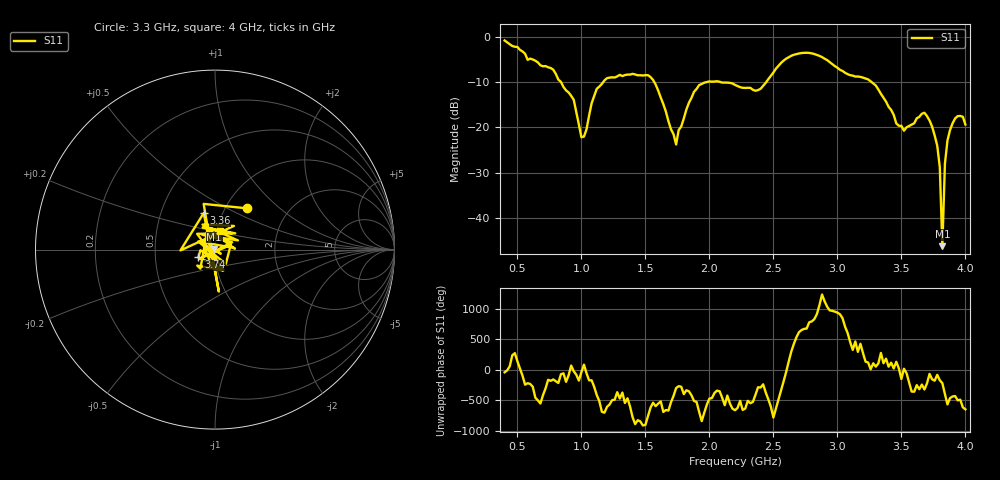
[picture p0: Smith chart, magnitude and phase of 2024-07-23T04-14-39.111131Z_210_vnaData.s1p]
!Created with skrf (http://scikit-rf.org).
# Hz S RI R 50.0
!freq ReS11 ImS11
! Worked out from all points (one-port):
!   181 points, 400 MHz to 4 GHz, reference 50 ohm
!   lowest |S11| = -46.3 dB at 3.82 GHz (marker M1), VSWR 1.01, Z = 49.6 + j0.294 ohm
!   |S11| at or under -10 dB: 1.57 GHz to 1.978 GHz (408.2 MHz wide, 23 % of centre); 2.09 GHz to 2.444 GHz (354.2 MHz wide, 15.6 % of centre); 3.268 GHz to end of sweep (the widest 3 of 4)
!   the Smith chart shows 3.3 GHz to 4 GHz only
!   S11 on the Smith chart (normalised r, x): 3.3 GHz: 1.25, +0.63; 3.36 GHz: 0.82, +0.35; 3.74 GHz: 0.83, -0.07; 4 GHz: 1.04, +0.22
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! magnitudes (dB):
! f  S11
! 400 MHz  -0.8
! 780 MHz  -7.2
! 860 MHz  -11.1
! 940 MHz  -13.9
! 1 GHz  -22.2
! 1.04 GHz  -20.4
! 1.12 GHz  -11.5
! 1.3 GHz  -8.4
! 1.54 GHz  -8.9
! 1.74 GHz  -23.8
! 1.76 GHz  -20.6
! 1.92 GHz  -10.6
! 2.2 GHz  -10.6
! 2.4 GHz  -11.5
! 2.66 GHz  -3.9
! 3.1 GHz  -8.5
! 3.3 GHz  -10.7
! 3.36 GHz  -13.4
! 3.46 GHz  -19.1
! 3.56 GHz  -19.7
! 3.68 GHz  -16.8
! 3.74 GHz  -19.9
! 3.8 GHz  -28.8
! 3.82 GHz  -46.3
! 3.84 GHz  -28.1
! 3.86 GHz  -22.9
! 3.94 GHz  -17.5
! 4 GHz  -19.4
